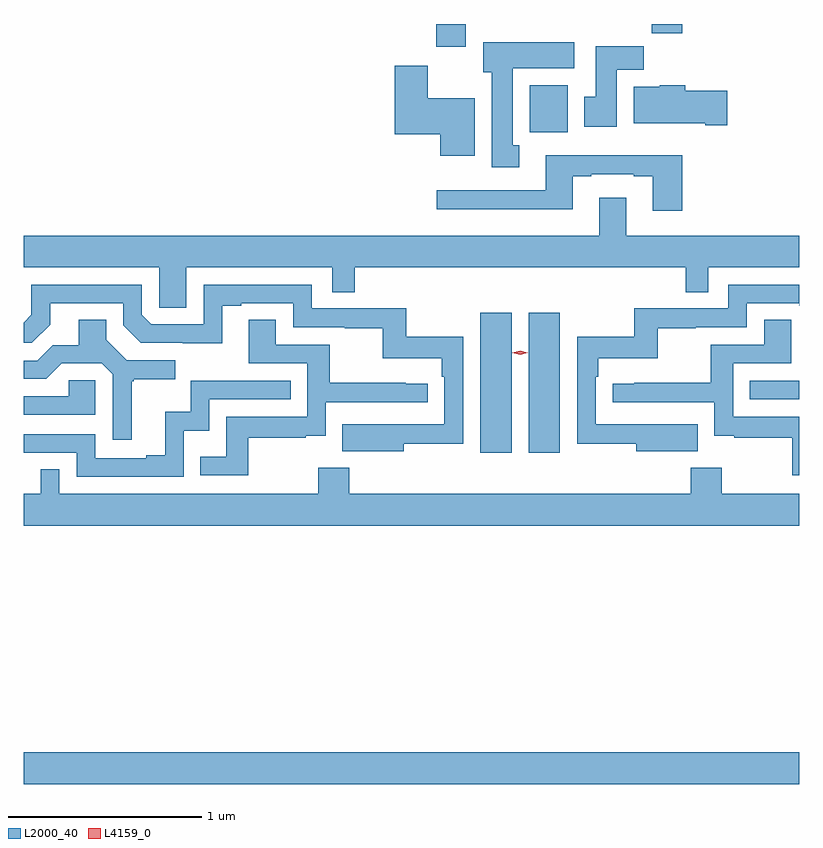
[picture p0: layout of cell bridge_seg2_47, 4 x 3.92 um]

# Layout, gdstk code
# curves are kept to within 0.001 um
import gdstk
lib = gdstk.Library(unit=1e-6, precision=1e-09)
def R(c, l, rs):  # rectangles x0, y0, x1, y1
    for r in rs: c.add(gdstk.rectangle(r[:2], r[2:], *l))
def P(c, l, *ps):  # polygons
    for p in ps: c.add(gdstk.Polygon(p, *l))
L2000_40 = (2000, 40)
L4159_0 = (4159, 0)

bridge_seg2_47 = lib.new_cell('bridge_seg2_47')
R(bridge_seg2_47, L2000_40, [(973.718,615.668,977.718,615.832), (976.073,617.376,976.234,618.097), (976.322,617.376,976.483,618.097), (977.461,617.652,977.718,617.748), (976.328,619.028,976.525,619.27), (975.845,619.47,975.997,619.587), (976.957,619.54,977.114,619.587)])
P(bridge_seg2_47, L2000_40, [(976.273,618.962),(976.24,618.962),(976.24,619.358),(976.558,619.358),(976.558,619.492),(976.088,619.492),(976.088,619.338),(976.133,619.338),(976.133,618.849),(976.273,618.849)],
  [(976.777,619.352),(976.916,619.352),(976.916,619.471),(976.667,619.471),(976.667,619.212),(976.61,619.212),(976.61,619.056),(976.777,619.056)],
  [(976.045,619.204),(975.802,619.204),(975.802,619.372),(975.632,619.372),(975.632,619.019),(975.866,619.019),(975.866,618.908),(976.045,618.908)],
  [(977.347,619.242),(977.129,619.242),(977.129,619.27),(976.998,619.27),(976.998,619.264),(976.865,619.264),(976.865,619.076),(977.234,619.076),(977.234,619.064),(977.347,619.064)],
  [(977.114,618.91),(976.409,618.91),(976.409,618.729),(975.849,618.729),(975.849,618.632),(976.549,618.632),(976.549,618.801),(976.645,618.801),(976.645,618.813),(976.865,618.813),(976.865,618.801),(976.961,618.801),(976.961,618.624),(977.114,618.624)],
  [(974.557,618.332),(975.309,618.332),(975.309,618.205),(975.425,618.205),(975.425,618.332),(977.131,618.332),(977.131,618.205),(977.247,618.205),(977.247,618.332),(977.718,618.332),(977.718,618.496),(976.825,618.496),(976.825,618.691),(976.685,618.691),(976.685,618.496),(973.718,618.496),(973.718,618.332),(974.418,618.332),(974.418,618.124),(974.557,618.124)],
  [(977.195,617.524),(976.981,617.524),(976.981,617.523),(976.668,617.523),(976.668,617.768),(976.682,617.768),(976.682,617.864),(976.987,617.864),(976.987,618.019),(977.183,618.019),(977.183,618.024),(977.448,618.024),(977.448,618.147),(977.717,618.147),(977.717,618.135),(977.718,618.135),(977.718,618.243),(977.352,618.243),(977.352,618.12),(976.866,618.12),(976.866,617.974),(976.572,617.974),(976.572,617.422),(976.877,617.422),(976.877,617.384),(977.195,617.384)],
  [(975.679,617.422),(975.984,617.422),(975.984,617.974),(975.691,617.974),(975.691,618.12),(975.204,618.12),(975.204,618.243),(974.646,618.243),(974.646,618.039),(974.376,618.039),(974.328,618.087),(974.328,618.243),(973.758,618.243),(973.758,618.087),(973.718,618.047),(973.718,617.943),(973.761,617.943),(973.855,618.037),(973.855,618.147),(974.232,618.147),(974.232,618.033),(974.322,617.943),(974.743,617.942),(974.743,618.135),(974.839,618.135),(974.839,618.147),(975.108,618.147),(975.108,618.024),(975.373,618.024),(975.373,618.019),(975.57,618.019),(975.57,617.864),(975.875,617.864),(975.875,617.768),(975.888,617.768),(975.888,617.523),(975.361,617.524),(975.361,617.384),(975.679,617.384)],
  [(974.275,617.745),(974.287,617.745),(974.287,617.756),(974.5,617.756),(974.5,617.853),(974.25,617.853),(974.143,617.96),(974.143,618.062),(974.003,618.062),(974.003,617.93),(973.868,617.93),(973.788,617.85),(973.718,617.85),(973.718,617.757),(973.834,617.757),(973.915,617.838),(974.121,617.838),(974.178,617.781),(974.178,617.442),(974.275,617.442)],
  [(974.875,617.454),(975.173,617.454),(975.173,617.465),(975.276,617.465),(975.276,617.637),(975.802,617.637),(975.802,617.733),(975.689,617.733),(975.689,617.738),(975.296,617.738),(975.296,617.934),(975.019,617.934),(975.019,618.062),(974.879,618.062),(974.879,617.838),(975.18,617.838),(975.18,617.562),(974.764,617.562),(974.764,617.356),(974.629,617.356),(974.629,617.259),(974.875,617.259)],
  [(977.718,617.562),(977.376,617.562),(977.376,617.838),(977.677,617.838),(977.677,618.062),(977.537,618.062),(977.537,617.934),(977.26,617.934),(977.26,617.738),(976.867,617.738),(976.867,617.733),(976.755,617.733),(976.755,617.637),(977.28,617.637),(977.28,617.465),(977.383,617.465),(977.383,617.454),(977.682,617.454),(977.682,617.259),(977.718,617.259)],
  [(974.088,617.751),(973.951,617.751),(973.951,617.667),(973.718,617.667),(973.718,617.571),(974.088,617.571)],
  [(974.544,617.489),(974.676,617.489),(974.676,617.652),(975.095,617.652),(975.095,617.748),(974.58,617.748),(974.58,617.587),(974.447,617.587),(974.447,617.362),(974.351,617.362),(974.351,617.349),(974.088,617.349),(974.088,617.472),(973.718,617.472),(973.718,617.376),(973.992,617.376),(973.992,617.253),(974.544,617.253)],
  [(977.718,617.164),(977.319,617.164),(977.319,617.299),(977.159,617.299),(977.159,617.164),(975.398,617.164),(975.398,617.299),(975.238,617.299),(975.238,617.164),(973.902,617.164),(973.902,617.291),(973.806,617.291),(973.806,617.164),(973.718,617.164),(973.718,617),(977.718,617)])
P(bridge_seg2_47, L4159_0, [(976.278,617.881),(976.238,617.891),(976.238,617.891),(976.238,617.891),(976.278,617.901),(976.318,617.891),(976.318,617.891),(976.318,617.891)])

lib.write_gds('bridge_seg2_47.gds')
